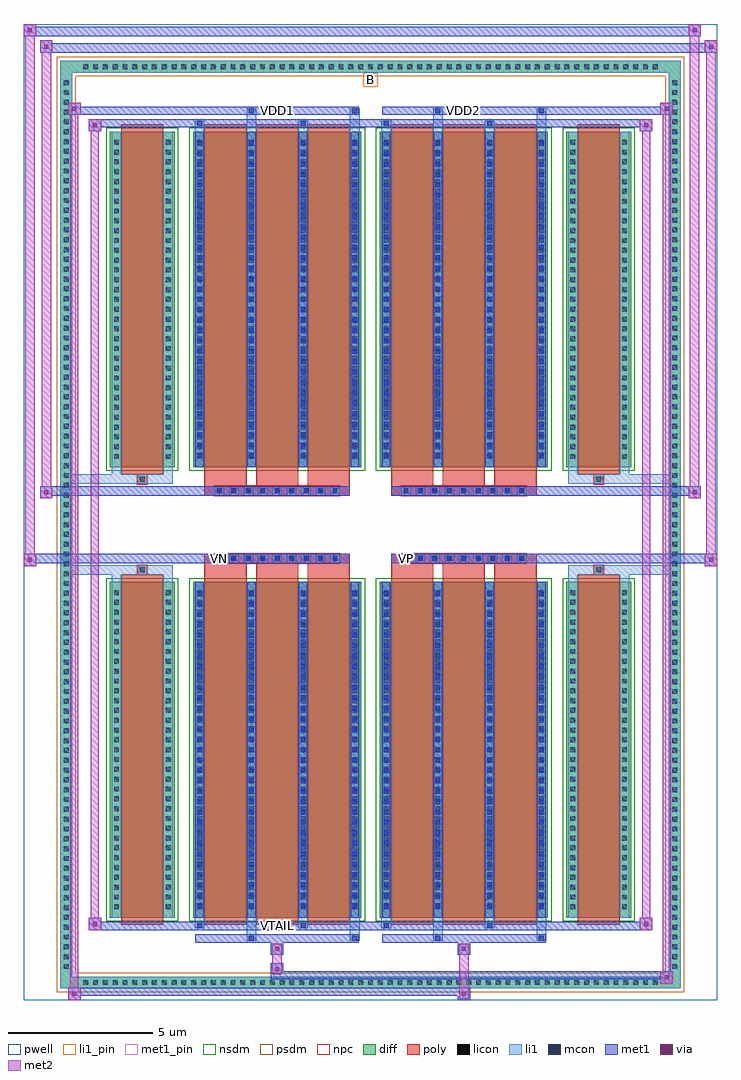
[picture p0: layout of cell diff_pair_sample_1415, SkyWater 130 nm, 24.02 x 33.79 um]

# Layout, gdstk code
import gdstk
lib = gdstk.Library(unit=1e-6, precision=5e-09)
def R(c, l, rs):  # rectangles x0, y0, x1, y1
    for r in rs: c.add(gdstk.rectangle(r[:2], r[2:], *l))
def A(c, l, x, y, w, h, nx, ny, dx, dy):  # array of equal rectangles
    R(c, l, [(x+i*dx, y+j*dy, x+i*dx+w, y+j*dy+h) for i in range(nx) for j in range(ny)])
def P(c, l, *ps):  # polygons
    for p in ps: c.add(gdstk.Polygon(p, *l))
pwell = (64, 44)
diff = (65, 20)
poly = (66, 20)
licon = (66, 44)
li1_pin = (67, 16)
li1 = (67, 20)
mcon = (67, 44)
met1_pin = (68, 16)
met1 = (68, 20)
via = (68, 44)
met2 = (69, 20)
nsdm = (93, 44)
psdm = (94, 20)
npc = (95, 20)

diff_pair_sample_1415 = lib.new_cell('diff_pair_sample_1415')
R(diff_pair_sample_1415, pwell, [(-12.01,-16.46,12.01,17.33), (-9.33,-14.65,-0.01,-0.805), (0.01,-14.65,9.33,-0.805), (-9.33,0.805,-0.01,14.65), (0.01,0.805,9.33,14.65)])
A(diff_pair_sample_1415, diff, -10.065, -16.06, 0.41, 0.41, 59, 2, 0.34, 31.71)
A(diff_pair_sample_1415, diff, -10.74, -15.505, 0.41, 0.41, 1, 91, 0, 0.34)
A(diff_pair_sample_1415, diff, 10.33, -15.505, 0.41, 0.41, 1, 91, 0, 0.34)
R(diff_pair_sample_1415, diff, [(-10.065,-16.06,10.065,-15.65), (-10.74,-15.505,-10.33,15.505), (10.33,-15.505,10.74,15.505), (-9.02,-13.605,-6.78,-1.985), (-6.14,-13.605,-0.32,-1.985), (0.32,-13.605,6.14,-1.985), (6.78,-13.605,9.02,-1.985), (-9.02,1.985,-6.78,13.605), (-6.14,1.985,-0.32,13.605), (0.32,1.985,6.14,13.605), (6.78,1.985,9.02,13.605), (-10.065,15.65,10.065,16.06)])
P(diff_pair_sample_1415, diff, [(10.74,16.06),(-10.74,16.06),(-10.74,-15.65),(-10.33,-15.65),(-10.33,15.65),(10.33,15.65),(10.33,-15.65),(-10.33,-15.65),(-10.74,-15.65),(-10.74,-16.06),(10.74,-16.06)])
A(diff_pair_sample_1415, poly, -5.75, -13.855, 1.46, 12.12, 3, 2, 1.79, 15.59)
A(diff_pair_sample_1415, poly, 0.71, -13.855, 1.46, 12.12, 3, 2, 1.79, 15.59)
A(diff_pair_sample_1415, poly, -5.75, -1.735, 1.46, 0.4, 3, 2, 1.79, 3.07)
A(diff_pair_sample_1415, poly, 0.71, -1.735, 1.46, 0.4, 3, 2, 1.79, 3.07)
A(diff_pair_sample_1415, poly, -5.395, -1.335, 0.33, 0.33, 9, 2, 0.5, 2.34)
A(diff_pair_sample_1415, poly, 1.065, -1.335, 0.33, 0.33, 9, 2, 0.5, 2.34)
R(diff_pair_sample_1415, poly, [(-8.63,-13.855,-7.17,-1.735), (7.17,-13.855,8.63,-1.735), (-8.065,-1.735,-7.735,-1.405), (-8.065,-1.735,-7.735,-1.405), (7.735,-1.735,8.065,-1.405), (7.735,-1.735,8.065,-1.405), (-5.75,-1.335,-0.71,-1.005), (0.71,-1.335,5.75,-1.005), (-5.75,1.005,-0.71,1.335), (0.71,1.005,5.75,1.335), (-8.065,1.405,-7.735,1.735), (-8.065,1.405,-7.735,1.735), (7.735,1.405,8.065,1.735), (7.735,1.405,8.065,1.735), (-8.63,1.735,-7.17,13.855), (7.17,1.735,8.63,13.855)])
A(diff_pair_sample_1415, licon, -9.945, -15.94, 0.17, 0.17, 59, 2, 0.34, 31.71)
A(diff_pair_sample_1415, licon, -10.62, -15.385, 0.17, 0.17, 1, 91, 0, 0.34)
A(diff_pair_sample_1415, licon, 10.45, -15.385, 0.17, 0.17, 1, 91, 0, 0.34)
A(diff_pair_sample_1415, licon, -8.88, -13.32, 0.17, 0.17, 1, 33, 0, 0.34)
A(diff_pair_sample_1415, licon, -7.09, -13.32, 0.17, 0.17, 1, 33, 0, 0.34)
A(diff_pair_sample_1415, licon, -6, -13.32, 0.17, 0.17, 4, 33, 1.79, 0.34)
A(diff_pair_sample_1415, licon, 0.46, -13.32, 0.17, 0.17, 4, 33, 1.79, 0.34)
A(diff_pair_sample_1415, licon, 6.92, -13.32, 0.17, 0.17, 1, 33, 0, 0.34)
A(diff_pair_sample_1415, licon, 8.71, -13.32, 0.17, 0.17, 1, 33, 0, 0.34)
A(diff_pair_sample_1415, licon, -5.315, -1.255, 0.17, 0.17, 9, 2, 0.5, 2.34)
A(diff_pair_sample_1415, licon, 1.145, -1.255, 0.17, 0.17, 9, 2, 0.5, 2.34)
A(diff_pair_sample_1415, licon, -8.88, 2.27, 0.17, 0.17, 1, 33, 0, 0.34)
A(diff_pair_sample_1415, licon, -7.09, 2.27, 0.17, 0.17, 1, 33, 0, 0.34)
A(diff_pair_sample_1415, licon, -6, 2.27, 0.17, 0.17, 4, 33, 1.79, 0.34)
A(diff_pair_sample_1415, licon, 0.46, 2.27, 0.17, 0.17, 4, 33, 1.79, 0.34)
A(diff_pair_sample_1415, licon, 6.92, 2.27, 0.17, 0.17, 1, 33, 0, 0.34)
A(diff_pair_sample_1415, licon, 8.71, 2.27, 0.17, 0.17, 1, 33, 0, 0.34)
R(diff_pair_sample_1415, licon, [(-7.985,-1.655,-7.815,-1.485), (7.815,-1.655,7.985,-1.485), (-7.985,1.485,-7.815,1.655), (7.815,1.485,7.985,1.655)])
R(diff_pair_sample_1415, li1_pin, [(-0.25,15.15,0.25,15.65)])
A(diff_pair_sample_1415, li1, -10.025, -16.02, 0.33, 0.33, 59, 2, 0.34, 31.71)
A(diff_pair_sample_1415, li1, -10.7, -15.465, 0.33, 0.33, 1, 91, 0, 0.34)
A(diff_pair_sample_1415, li1, 10.37, -15.465, 0.33, 0.33, 1, 91, 0, 0.34)
A(diff_pair_sample_1415, li1, -6.08, -13.605, 0.33, 11.62, 4, 2, 1.79, 15.59)
A(diff_pair_sample_1415, li1, 0.38, -13.605, 0.33, 11.62, 4, 2, 1.79, 15.59)
A(diff_pair_sample_1415, li1, -8.96, -13.4, 0.33, 0.33, 1, 33, 0, 0.34)
A(diff_pair_sample_1415, li1, -7.17, -13.4, 0.33, 0.33, 1, 33, 0, 0.34)
A(diff_pair_sample_1415, li1, -6.08, -13.4, 0.33, 0.33, 4, 33, 1.79, 0.34)
A(diff_pair_sample_1415, li1, 0.38, -13.4, 0.33, 0.33, 4, 33, 1.79, 0.34)
A(diff_pair_sample_1415, li1, 6.84, -13.4, 0.33, 0.33, 1, 33, 0, 0.34)
A(diff_pair_sample_1415, li1, 8.63, -13.4, 0.33, 0.33, 1, 33, 0, 0.34)
A(diff_pair_sample_1415, li1, -6, -13.28, 0.17, 0.17, 4, 31, 1.79, 0.36)
A(diff_pair_sample_1415, li1, -6, -13.28, 0.17, 10.97, 4, 2, 1.79, 15.59)
A(diff_pair_sample_1415, li1, 0.46, -13.28, 0.17, 0.17, 4, 31, 1.79, 0.36)
A(diff_pair_sample_1415, li1, 0.46, -13.28, 0.17, 10.97, 4, 2, 1.79, 15.59)
A(diff_pair_sample_1415, li1, -5.395, -1.335, 0.33, 0.33, 9, 2, 0.5, 2.34)
A(diff_pair_sample_1415, li1, 1.065, -1.335, 0.33, 0.33, 9, 2, 0.5, 2.34)
A(diff_pair_sample_1415, li1, -8.96, 2.19, 0.33, 0.33, 1, 33, 0, 0.34)
A(diff_pair_sample_1415, li1, -7.17, 2.19, 0.33, 0.33, 1, 33, 0, 0.34)
A(diff_pair_sample_1415, li1, -6.08, 2.19, 0.33, 0.33, 4, 33, 1.79, 0.34)
A(diff_pair_sample_1415, li1, 0.38, 2.19, 0.33, 0.33, 4, 33, 1.79, 0.34)
A(diff_pair_sample_1415, li1, 6.84, 2.19, 0.33, 0.33, 1, 33, 0, 0.34)
A(diff_pair_sample_1415, li1, 8.63, 2.19, 0.33, 0.33, 1, 33, 0, 0.34)
A(diff_pair_sample_1415, li1, -6, 2.31, 0.17, 0.17, 4, 31, 1.79, 0.36)
A(diff_pair_sample_1415, li1, 0.46, 2.31, 0.17, 0.17, 4, 31, 1.79, 0.36)
R(diff_pair_sample_1415, li1, [(-10.74,-16.06,-10.33,-15.65), (-10.74,-16.06,-10.33,-15.65), (-10.33,-16.06,10.33,-15.65), (10.33,-16.06,10.74,-15.65), (10.33,-16.06,10.74,-15.65), (-10.74,-15.65,-10.33,15.65), (10.33,-15.65,10.74,15.65), (-4.29,-14.41,-3.96,-13.605), (-4.21,-14.41,-4.04,-14.24), (-0.71,-14.41,-0.38,-13.605), (-0.63,-14.41,-0.46,-14.24), (2.17,-14.41,2.5,-13.605), (2.25,-14.41,2.42,-14.24), (5.75,-14.41,6.08,-13.605), (5.83,-14.41,6,-14.24), (-6.08,-13.98,-5.75,-13.605), (-6,-13.98,-5.83,-13.81), (-2.5,-13.98,-2.17,-13.605), (-2.42,-13.98,-2.25,-13.81), (0.38,-13.98,0.71,-13.605), (0.46,-13.98,0.63,-13.81), (3.96,-13.98,4.29,-13.605), (4.04,-13.98,4.21,-13.81), (-8.96,-13.605,-8.63,-1.985), (-7.17,-13.605,-6.84,-1.985), (6.84,-13.605,7.17,-1.985), (8.63,-13.605,8.96,-1.985), (-8.96,-1.985,-8.63,-1.405), (-7.17,-1.985,-6.84,-1.405), (6.84,-1.985,7.17,-1.405), (8.63,-1.985,8.96,-1.405), (-10.74,-1.735,-8.065,-1.405), (-8.96,-1.735,-8.065,-1.405), (-8.065,-1.735,-7.735,-1.405), (-7.735,-1.735,-6.84,-1.405), (6.84,-1.735,7.735,-1.405), (7.735,-1.735,8.065,-1.405), (7.735,-1.735,10.74,-1.405), (8.065,-1.735,8.96,-1.405), (-10.74,1.405,-8.065,1.735), (-8.96,1.405,-8.065,1.735), (-8.96,1.405,-8.63,1.985), (-8.065,1.405,-7.735,1.735), (-7.735,1.405,-6.84,1.735), (-7.17,1.405,-6.84,1.985), (6.84,1.405,7.735,1.735), (6.84,1.405,7.17,1.985), (7.735,1.405,8.065,1.735), (7.735,1.405,10.74,1.735), (8.065,1.405,8.96,1.735), (8.63,1.405,8.96,1.985), (-8.96,1.985,-8.63,13.605), (-7.17,1.985,-6.84,13.605), (6.84,1.985,7.17,13.605), (8.63,1.985,8.96,13.605), (-6.08,13.605,-5.75,13.98), (-4.29,13.605,-3.96,14.41), (-2.5,13.605,-2.17,13.98), (-0.71,13.605,-0.38,14.41), (0.38,13.605,0.71,13.98), (2.17,13.605,2.5,14.41), (3.96,13.605,4.29,13.98), (5.75,13.605,6.08,14.41), (-6,13.81,-5.83,13.98), (-2.42,13.81,-2.25,13.98), (0.46,13.81,0.63,13.98), (4.04,13.81,4.21,13.98), (-4.21,14.24,-4.04,14.41), (-0.63,14.24,-0.46,14.41), (2.25,14.24,2.42,14.41), (5.83,14.24,6,14.41), (-10.74,15.65,-10.33,16.06), (-10.74,15.65,-10.33,16.06), (-10.33,15.65,10.33,16.06), (10.33,15.65,10.74,16.06), (10.33,15.65,10.74,16.06)])
A(diff_pair_sample_1415, mcon, -6, -13.28, 0.17, 0.17, 4, 31, 1.79, 0.36)
A(diff_pair_sample_1415, mcon, 0.46, -13.28, 0.17, 0.17, 4, 31, 1.79, 0.36)
A(diff_pair_sample_1415, mcon, -5.315, -1.255, 0.17, 0.17, 9, 2, 0.5, 2.34)
A(diff_pair_sample_1415, mcon, 1.145, -1.255, 0.17, 0.17, 9, 2, 0.5, 2.34)
A(diff_pair_sample_1415, mcon, -6, 2.31, 0.17, 0.17, 4, 31, 1.79, 0.36)
A(diff_pair_sample_1415, mcon, 0.46, 2.31, 0.17, 0.17, 4, 31, 1.79, 0.36)
R(diff_pair_sample_1415, mcon, [(-4.21,-14.41,-4.04,-14.24), (-0.63,-14.41,-0.46,-14.24), (2.25,-14.41,2.42,-14.24), (5.83,-14.41,6,-14.24), (-6,-13.98,-5.83,-13.81), (-2.42,-13.98,-2.25,-13.81), (0.46,-13.98,0.63,-13.81), (4.04,-13.98,4.21,-13.81), (-6,13.81,-5.83,13.98), (-2.42,13.81,-2.25,13.98), (0.46,13.81,0.63,13.98), (4.04,13.81,4.21,13.98), (-4.21,14.24,-4.04,14.41), (-0.63,14.24,-0.46,14.41), (2.25,14.24,2.42,14.41), (5.83,14.24,6,14.41)])
R(diff_pair_sample_1415, met1_pin, [(-3.365,-14.02,-3.095,-13.75), (-5.365,-1.295,-5.095,-1.025), (1.095,-1.295,1.365,-1.025), (-3.365,14.2,-3.095,14.47), (3.095,14.2,3.365,14.47)])
A(diff_pair_sample_1415, met1, -6.06, -13.605, 0.29, 11.62, 4, 2, 1.79, 15.59)
A(diff_pair_sample_1415, met1, 0.4, -13.605, 0.29, 11.62, 4, 2, 1.79, 15.59)
A(diff_pair_sample_1415, met1, -6.06, -13.34, 0.29, 0.29, 4, 31, 1.79, 0.36)
A(diff_pair_sample_1415, met1, 0.4, -13.34, 0.29, 0.29, 4, 31, 1.79, 0.36)
A(diff_pair_sample_1415, met1, -5.375, -1.315, 0.29, 0.29, 9, 2, 0.5, 2.34)
A(diff_pair_sample_1415, met1, 1.085, -1.315, 0.29, 0.29, 9, 2, 0.5, 2.34)
A(diff_pair_sample_1415, met1, -6.06, 2.25, 0.29, 0.29, 4, 31, 1.79, 0.36)
A(diff_pair_sample_1415, met1, 0.4, 2.25, 0.29, 0.29, 4, 31, 1.79, 0.36)
R(diff_pair_sample_1415, met1, [(-10.47,-16.46,-10.04,-16.03), (3.015,-16.46,3.445,-16.03), (-10.47,-16.32,3.445,-16.03), (10.04,-15.89,10.47,-15.46), (-3.445,-15.75,10.47,-15.46), (-3.445,-15.61,-3.015,-15.18), (-3.445,-14.9,-3.015,-14.47), (3.015,-14.9,3.445,-14.47), (-6.06,-14.47,-0.4,-14.18), (-4.27,-14.47,-3.98,-14.18), (-0.69,-14.47,-0.4,-14.18), (0.4,-14.47,6.06,-14.18), (2.19,-14.47,2.48,-14.18), (5.77,-14.47,6.06,-14.18), (-9.76,-14.04,-9.33,-13.61), (-9.76,-14.04,-6.06,-13.75), (-6.06,-14.04,-5.77,-13.75), (-6.06,-14.04,-0.4,-13.75), (-2.48,-14.04,-2.19,-13.75), (-0.4,-14.04,0.4,-13.75), (0.4,-14.04,0.69,-13.75), (0.4,-14.04,6.06,-13.75), (3.98,-14.04,4.27,-13.75), (6.06,-14.04,9.76,-13.75), (9.33,-14.04,9.76,-13.61), (-12.01,-1.435,-11.58,-1.005), (11.58,-1.435,12.01,-1.005), (-12.01,-1.335,-0.71,-1.005), (-5.75,-1.335,-0.71,-1.005), (0.71,-1.335,5.75,-1.005), (0.71,-1.335,12.01,-1.005), (-11.44,0.905,-11.01,1.335), (11.01,0.905,11.44,1.335), (-11.44,1.005,-5.75,1.335), (-5.75,1.005,-0.71,1.335), (0.71,1.005,5.75,1.335), (5.75,1.005,11.44,1.335), (-9.76,13.61,-9.33,14.04), (9.33,13.61,9.76,14.04), (-9.76,13.75,-6.06,14.04), (-6.06,13.75,-5.77,14.04), (-6.06,13.75,-0.4,14.04), (-2.48,13.75,-2.19,14.04), (-0.4,13.75,0.4,14.04), (0.4,13.75,0.69,14.04), (0.4,13.75,6.06,14.04), (3.98,13.75,4.27,14.04), (6.06,13.75,9.76,14.04), (-10.47,14.18,-10.04,14.61), (-10.47,14.18,-6.06,14.47), (-6.06,14.18,-0.4,14.47), (-4.27,14.18,-3.98,14.47), (-0.69,14.18,-0.4,14.47), (0.4,14.18,6.06,14.47), (2.19,14.18,2.48,14.47), (5.77,14.18,6.06,14.47), (6.06,14.18,10.47,14.47), (10.04,14.18,10.47,14.61), (-11.44,16.33,-11.01,16.76), (-11.44,16.33,-9.33,16.66), (-9.33,16.33,9.33,16.66), (9.33,16.33,12.01,16.66), (11.58,16.33,12.01,16.76), (-12.01,16.9,-11.58,17.33), (-12.01,16.9,-9.33,17.23), (-9.33,16.9,9.33,17.23), (9.33,16.9,11.44,17.23), (11.01,16.9,11.44,17.33)])
R(diff_pair_sample_1415, via, [(-10.33,-16.32,-10.18,-16.17), (3.155,-16.32,3.305,-16.17), (10.18,-15.75,10.33,-15.6), (-3.305,-15.47,-3.155,-15.32), (-3.305,-14.76,-3.155,-14.61), (3.155,-14.76,3.305,-14.61), (-9.62,-13.9,-9.47,-13.75), (9.47,-13.9,9.62,-13.75), (-11.87,-1.295,-11.72,-1.145), (11.72,-1.295,11.87,-1.145), (-11.3,1.045,-11.15,1.195), (11.15,1.045,11.3,1.195), (-9.62,13.75,-9.47,13.9), (9.47,13.75,9.62,13.9), (-10.33,14.32,-10.18,14.47), (10.18,14.32,10.33,14.47), (-11.3,16.47,-11.15,16.62), (11.72,16.47,11.87,16.62), (-11.87,17.04,-11.72,17.19), (11.15,17.04,11.3,17.19)])
R(diff_pair_sample_1415, met2, [(-10.47,-16.46,-10.04,-16.03), (-10.4,-16.46,-10.11,14.61), (-10.11,-16.46,-10.04,-16.03), (-10.42,-16.41,-10.09,-16.08), (3.065,-16.41,3.395,-16.08), (3.065,-16.08,3.395,-14.85), (10.04,-15.89,10.47,-15.46), (10.11,-15.89,10.4,14.61), (10.4,-15.89,10.47,-15.46), (10.09,-15.84,10.42,-15.51), (-3.395,-15.56,-3.065,-15.23), (-3.395,-15.23,-3.065,-14.85), (-3.395,-14.85,-3.065,-14.52), (3.065,-14.85,3.395,-14.52), (-9.76,-14.04,-9.33,-13.61), (-9.69,-14.04,-9.4,14.04), (-9.4,-14.04,-9.33,-13.61), (9.33,-14.04,9.76,-13.61), (9.4,-14.04,9.69,14.04), (9.69,-14.04,9.76,-13.61), (-9.71,-13.99,-9.38,-13.66), (9.38,-13.99,9.71,-13.66), (-12.01,-1.435,-11.58,-1.005), (-11.96,-1.435,-11.63,17.33), (-11.63,-1.435,-11.58,-1.005), (11.58,-1.435,12.01,-1.005), (11.63,-1.435,11.96,16.76), (11.96,-1.435,12.01,-1.005), (-11.96,-1.385,-11.63,-1.055), (11.63,-1.385,11.96,-1.055), (-11.44,0.905,-11.01,1.335), (-11.39,0.905,-11.06,16.76), (-11.06,0.905,-11.01,1.335), (11.01,0.905,11.44,1.335), (11.06,0.905,11.39,17.33), (11.39,0.905,11.44,1.335), (-11.39,0.955,-11.06,1.285), (11.06,0.955,11.39,1.285), (-9.76,13.61,-9.33,14.04), (-9.4,13.61,-9.33,14.04), (9.33,13.61,9.76,14.04), (9.69,13.61,9.76,14.04), (-9.71,13.66,-9.38,13.99), (9.38,13.66,9.71,13.99), (-10.47,14.18,-10.04,14.61), (-10.11,14.18,-10.04,14.61), (10.04,14.18,10.47,14.61), (10.4,14.18,10.47,14.61), (-10.42,14.23,-10.09,14.56), (10.09,14.23,10.42,14.56), (-11.44,16.33,-11.01,16.76), (-11.06,16.33,-11.01,16.76), (11.58,16.33,12.01,16.76), (11.96,16.33,12.01,16.76), (-11.39,16.38,-11.06,16.71), (11.63,16.38,11.96,16.71), (-12.01,16.9,-11.58,17.33), (-11.63,16.9,-11.58,17.33), (11.01,16.9,11.44,17.33), (11.39,16.9,11.44,17.33), (-11.96,16.95,-11.63,17.28), (11.06,16.95,11.39,17.28)])
R(diff_pair_sample_1415, nsdm, [(-9.15,-13.735,-6.65,-1.855), (-6.27,-13.735,-0.19,-1.855), (0.19,-13.735,6.27,-1.855), (6.65,-13.735,9.15,-1.855), (-9.15,1.855,-6.65,13.735), (-6.27,1.855,-0.19,13.735), (0.19,1.855,6.27,13.735), (6.65,1.855,9.15,13.735)])
P(diff_pair_sample_1415, psdm, [(10.87,16.19),(-10.87,16.19),(-10.87,-15.52),(-10.2,-15.52),(-10.2,15.52),(10.2,15.52),(10.2,-15.52),(-10.2,-15.52),(-10.87,-15.52),(-10.87,-16.19),(10.87,-16.19)])
A(diff_pair_sample_1415, npc, -5.415, -1.355, 0.37, 0.37, 9, 2, 0.5, 2.34)
A(diff_pair_sample_1415, npc, 1.045, -1.355, 0.37, 0.37, 9, 2, 0.5, 2.34)
R(diff_pair_sample_1415, npc, [(-8.085,-1.755,-7.715,-1.385), (7.715,-1.755,8.085,-1.385), (-5.415,-1.355,-4.545,-0.985), (-5.415,-1.355,-4.545,-0.985), (-4.915,-1.355,-4.045,-0.985), (-4.915,-1.355,-4.045,-0.985), (-4.415,-1.355,-3.545,-0.985), (-4.415,-1.355,-3.545,-0.985), (-3.915,-1.355,-3.045,-0.985), (-3.915,-1.355,-3.045,-0.985), (-3.415,-1.355,-2.545,-0.985), (-3.415,-1.355,-2.545,-0.985), (-2.915,-1.355,-2.045,-0.985), (-2.915,-1.355,-2.045,-0.985), (-2.415,-1.355,-1.545,-0.985), (-2.415,-1.355,-1.545,-0.985), (-1.915,-1.355,-1.045,-0.985), (-1.915,-1.355,-1.045,-0.985), (1.045,-1.355,1.915,-0.985), (1.045,-1.355,1.915,-0.985), (1.545,-1.355,2.415,-0.985), (1.545,-1.355,2.415,-0.985), (2.045,-1.355,2.915,-0.985), (2.045,-1.355,2.915,-0.985), (2.545,-1.355,3.415,-0.985), (2.545,-1.355,3.415,-0.985), (3.045,-1.355,3.915,-0.985), (3.045,-1.355,3.915,-0.985), (3.545,-1.355,4.415,-0.985), (3.545,-1.355,4.415,-0.985), (4.045,-1.355,4.915,-0.985), (4.045,-1.355,4.915,-0.985), (4.545,-1.355,5.415,-0.985), (4.545,-1.355,5.415,-0.985), (-5.415,0.985,-4.545,1.355), (-5.415,0.985,-4.545,1.355), (-4.915,0.985,-4.045,1.355), (-4.915,0.985,-4.045,1.355), (-4.415,0.985,-3.545,1.355), (-4.415,0.985,-3.545,1.355), (-3.915,0.985,-3.045,1.355), (-3.915,0.985,-3.045,1.355), (-3.415,0.985,-2.545,1.355), (-3.415,0.985,-2.545,1.355), (-2.915,0.985,-2.045,1.355), (-2.915,0.985,-2.045,1.355), (-2.415,0.985,-1.545,1.355), (-2.415,0.985,-1.545,1.355), (-1.915,0.985,-1.045,1.355), (-1.915,0.985,-1.045,1.355), (1.045,0.985,1.915,1.355), (1.045,0.985,1.915,1.355), (1.545,0.985,2.415,1.355), (1.545,0.985,2.415,1.355), (2.045,0.985,2.915,1.355), (2.045,0.985,2.915,1.355), (2.545,0.985,3.415,1.355), (2.545,0.985,3.415,1.355), (3.045,0.985,3.915,1.355), (3.045,0.985,3.915,1.355), (3.545,0.985,4.415,1.355), (3.545,0.985,4.415,1.355), (4.045,0.985,4.915,1.355), (4.045,0.985,4.915,1.355), (4.545,0.985,5.415,1.355), (4.545,0.985,5.415,1.355), (-8.085,1.385,-7.715,1.755), (7.715,1.385,8.085,1.755)])
diff_pair_sample_1415.add(gdstk.Label('VTAIL', (-3.23,-13.885), layer=68, texttype=5))
diff_pair_sample_1415.add(gdstk.Label('VN', (-5.23,-1.16), layer=68, texttype=5))
diff_pair_sample_1415.add(gdstk.Label('VP', (1.23,-1.16), layer=68, texttype=5))
diff_pair_sample_1415.add(gdstk.Label('B', (0,15.4), layer=67, texttype=5))
diff_pair_sample_1415.add(gdstk.Label('VDD2', (3.23,14.335), layer=68, texttype=5))
diff_pair_sample_1415.add(gdstk.Label('VDD1', (-3.23,14.335), layer=68, texttype=5))

lib.write_gds('diff_pair_sample_1415.gds')
